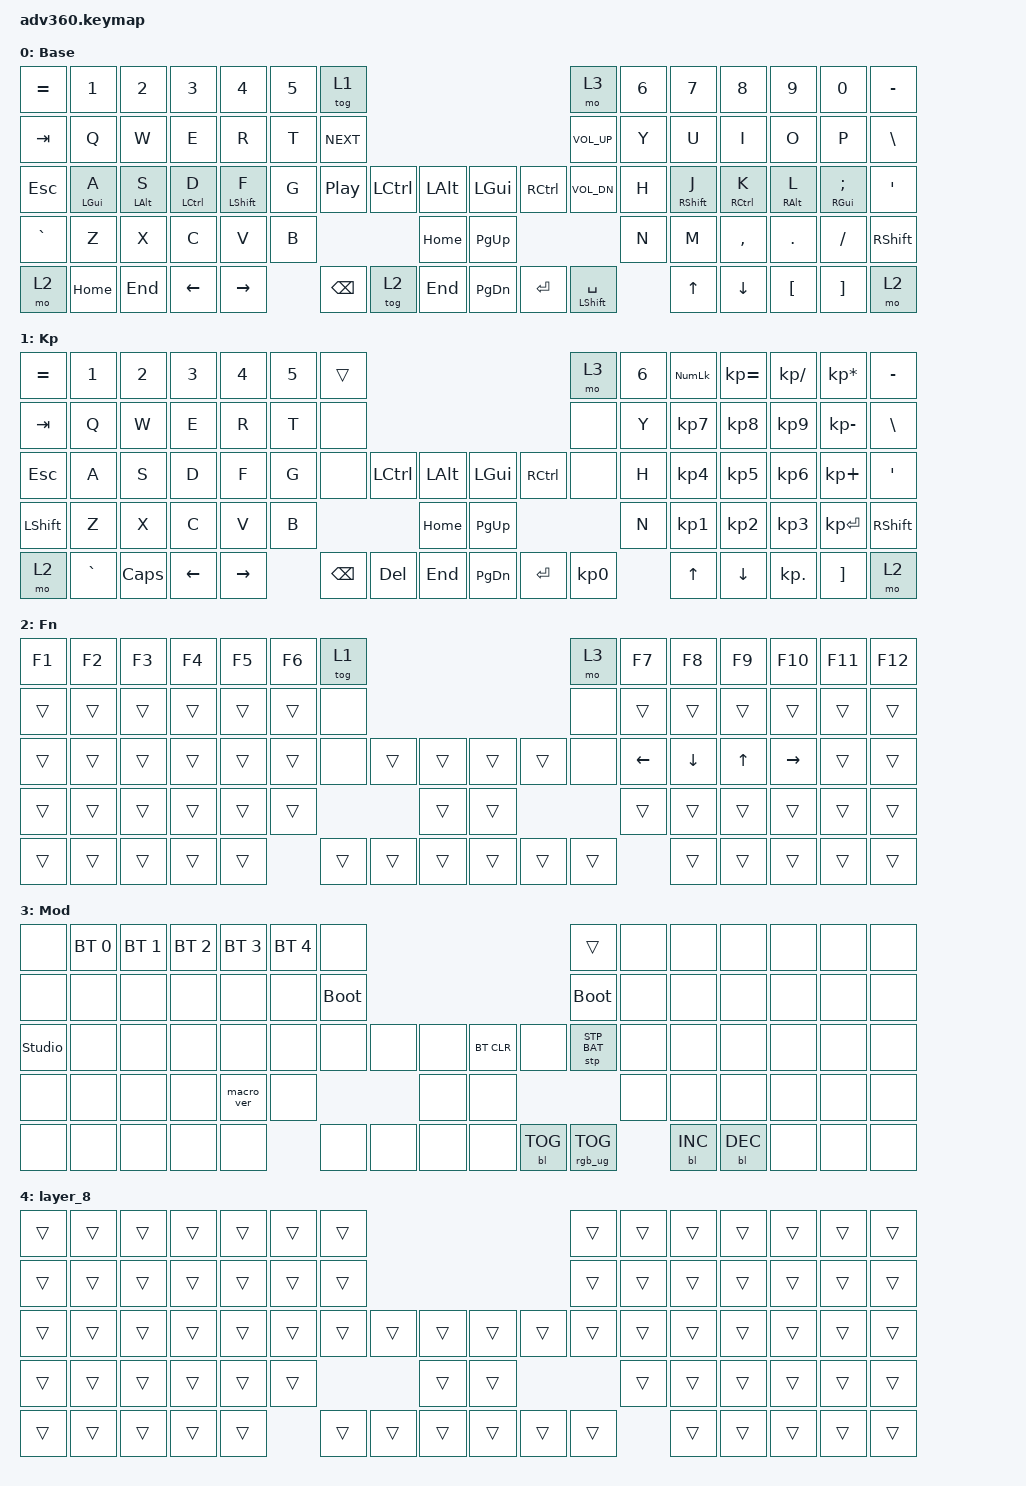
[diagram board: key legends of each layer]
#include <dt-bindings/zmk/stp.h>
#include <behaviors.dtsi>
#include <dt-bindings/zmk/backlight.h>
#include <dt-bindings/zmk/bt.h>
#include <dt-bindings/zmk/keys.h>
#include <dt-bindings/zmk/rgb.h>

/ {
    behaviors {
        #include "macros.dtsi"
      #include "version.dtsi"

        hm: homerow_mods {
            compatible = "zmk,behavior-hold-tap";
            label = "HOMEROW_MODS";
            #binding-cells = <2>;
            tapping-term-ms = <200>;
            quick_tap_ms = <175>;
            flavor = "tap-preferred";
            bindings = <&kp>, <&kp>;
        };
    };

    keymap {
        compatible = "zmk,keymap";

        default_layer {
            display-name = "Base";
            bindings = <
&kp EQUAL  &kp N1          &kp N2          &kp N3       &kp N4            &kp N5  &tog 1                                                           &mo 3                 &kp N6  &kp N7             &kp N8       &kp N9           &kp N0              &kp MINUS
&kp TAB    &kp Q           &kp W           &kp E        &kp R             &kp T   &kp C_NEXT                                                       &kp C_VOL_UP          &kp Y   &kp U              &kp I        &kp O            &kp P               &kp BSLH
&kp ESC    &hm LEFT_GUI A  &hm LEFT_ALT S  &hm LCTRL D  &hm LEFT_SHIFT F  &kp G   &kp C_PLAY_PAUSE  &kp LCTRL  &kp LALT      &kp LGUI   &kp RCTRL  &kp C_VOL_DN          &kp H   &hm RIGHT_SHIFT J  &hm RCTRL K  &hm RIGHT_ALT L  &hm RIGHT_GUI SEMI  &kp SQT
&kp GRAVE  &kp Z           &kp X           &kp C        &kp V             &kp B                                &kp HOME      &kp PG_UP                                   &kp N   &kp M              &kp COMMA    &kp DOT          &kp FSLH            &kp RSHFT
&mo 2      &kp HOME        &kp END         &kp LEFT     &kp RIGHT                 &kp BSPC          &tog 2     &kp END       &kp PG_DN  &kp ENTER  &hm LEFT_SHIFT SPACE          &kp UP             &kp DOWN     &kp LBKT         &kp RBKT            &mo 2
            >;
        };

        keypad {
            display-name = "Kp";
            bindings = <
&kp EQUAL  &kp N1     &kp N2    &kp N3    &kp N4     &kp N5  &trans                                                   &mo 3      &kp N6  &kp KP_NUM  &kp KP_EQUAL  &kp KP_DIVIDE  &kp KP_MULTIPLY  &kp MINUS
&kp TAB    &kp Q      &kp W     &kp E     &kp R      &kp T   &none                                                    &none      &kp Y   &kp KP_N7   &kp KP_N8     &kp KP_N9      &kp KP_MINUS     &kp BSLH
&kp ESC    &kp A      &kp S     &kp D     &kp F      &kp G   &none     &kp LCTRL  &kp LALT      &kp LGUI   &kp RCTRL  &none      &kp H   &kp KP_N4   &kp KP_N5     &kp KP_N6      &kp KP_PLUS      &kp SQT
&kp LSHFT  &kp Z      &kp X     &kp C     &kp V      &kp B                        &kp HOME      &kp PG_UP                        &kp N   &kp KP_N1   &kp KP_N2     &kp KP_N3      &kp KP_ENTER     &kp RSHFT
&mo 2      &kp GRAVE  &kp CAPS  &kp LEFT  &kp RIGHT          &kp BSPC  &kp DEL    &kp END       &kp PG_DN  &kp ENTER  &kp KP_N0          &kp UP      &kp DOWN      &kp KP_DOT     &kp RBKT         &mo 2
            >;
        };

        fn {
            display-name = "Fn";
            bindings = <
&kp F1  &kp F2  &kp F3  &kp F4  &kp F5  &kp F6  &tog 1                                      &mo 3   &kp F7          &kp F8          &kp F9  &kp F10    &kp F11  &kp F12
&trans  &trans  &trans  &trans  &trans  &trans  &none                                       &none   &trans          &trans          &trans  &trans     &trans   &trans
&trans  &trans  &trans  &trans  &trans  &trans  &none   &trans  &trans      &trans  &trans  &none   &kp LEFT_ARROW  &kp DOWN_ARROW  &kp UP  &kp RIGHT  &trans   &trans
&trans  &trans  &trans  &trans  &trans  &trans                  &trans      &trans                  &trans          &trans          &trans  &trans     &trans   &trans
&trans  &trans  &trans  &trans  &trans          &trans  &trans  &trans      &trans  &trans  &trans                  &trans          &trans  &trans     &trans   &trans
            >;
        };

        mod {
            display-name = "Mod";
            bindings = <
&none           &bt BT_SEL 0  &bt BT_SEL 1  &bt BT_SEL 2  &bt BT_SEL 3  &bt BT_SEL 4  &none                                                  &trans           &none  &none       &none       &none  &none  &none
&none           &none         &none         &none         &none         &none         &bootloader                                            &bootloader      &none  &none       &none       &none  &none  &none
&studio_unlock  &none         &none         &none         &none         &none         &none        &none  &none      &bt BT_CLR  &none       &stp STP_BAT     &none  &none       &none       &none  &none  &none
&none           &none         &none         &none         &macro_ver    &none                             &none      &none                                    &none  &none       &none       &none  &none  &none
&none           &none         &none         &none         &none                       &none        &none  &none      &none       &bl BL_TOG  &rgb_ug RGB_TOG         &bl BL_INC  &bl BL_DEC  &none  &none  &none
            >;
        };

        layer_8 {
            bindings = <
&trans  &trans  &trans  &trans  &trans  &trans  &trans                                      &trans  &trans  &trans  &trans  &trans  &trans  &trans
&trans  &trans  &trans  &trans  &trans  &trans  &trans                                      &trans  &trans  &trans  &trans  &trans  &trans  &trans
&trans  &trans  &trans  &trans  &trans  &trans  &trans  &trans  &trans      &trans  &trans  &trans  &trans  &trans  &trans  &trans  &trans  &trans
&trans  &trans  &trans  &trans  &trans  &trans                  &trans      &trans                  &trans  &trans  &trans  &trans  &trans  &trans
&trans  &trans  &trans  &trans  &trans          &trans  &trans  &trans      &trans  &trans  &trans          &trans  &trans  &trans  &trans  &trans
            >;
        };
    };
};
